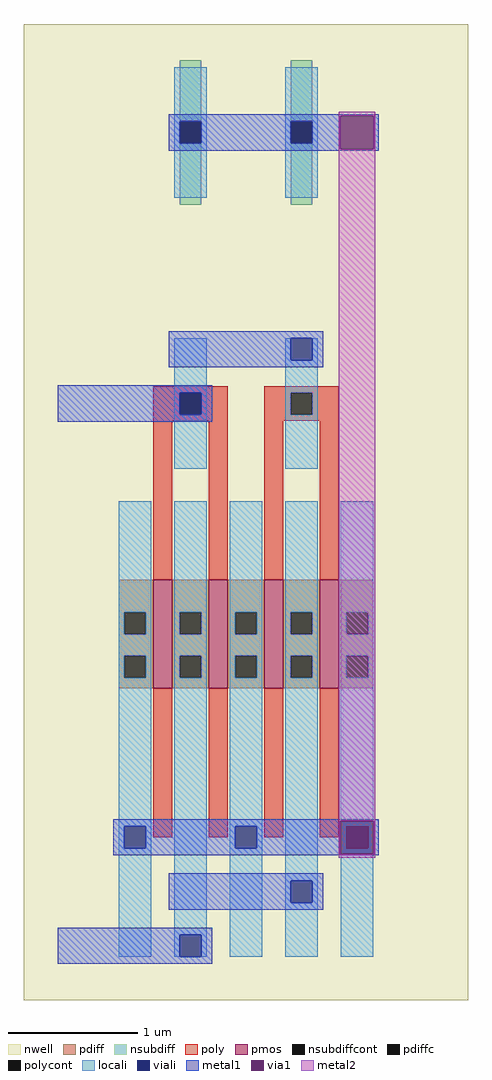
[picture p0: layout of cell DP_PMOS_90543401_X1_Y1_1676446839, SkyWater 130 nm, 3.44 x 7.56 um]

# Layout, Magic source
magic
tech sky130A
magscale 1 2
<< nwell >>
rect 0 0 688 1512
<< pmos >>
rect 200 483 230 651
rect 286 483 316 651
rect 372 483 402 651
rect 458 483 488 651
<< pdiff >>
rect 147 601 200 651
rect 147 567 155 601
rect 189 567 200 601
rect 147 533 200 567
rect 147 499 155 533
rect 189 499 200 533
rect 147 483 200 499
rect 230 601 286 651
rect 230 567 241 601
rect 275 567 286 601
rect 230 533 286 567
rect 230 499 241 533
rect 275 499 286 533
rect 230 483 286 499
rect 316 601 372 651
rect 316 567 327 601
rect 361 567 372 601
rect 316 533 372 567
rect 316 499 327 533
rect 361 499 372 533
rect 316 483 372 499
rect 402 601 458 651
rect 402 567 413 601
rect 447 567 458 601
rect 402 533 458 567
rect 402 499 413 533
rect 447 499 458 533
rect 402 483 458 499
rect 488 601 541 651
rect 488 567 499 601
rect 533 567 541 601
rect 488 533 541 567
rect 488 499 499 533
rect 533 499 541 533
rect 488 483 541 499
<< pdiffc >>
rect 155 567 189 601
rect 155 499 189 533
rect 241 567 275 601
rect 241 499 275 533
rect 327 567 361 601
rect 327 499 361 533
rect 413 567 447 601
rect 413 499 447 533
rect 499 567 533 601
rect 499 499 533 533
<< nsubdiff >>
rect 241 1361 275 1456
rect 241 1232 275 1327
rect 413 1361 447 1456
rect 413 1232 447 1327
<< nsubdiffcont >>
rect 241 1327 275 1361
rect 413 1327 447 1361
<< poly >>
rect 200 941 316 951
rect 200 907 241 941
rect 275 907 316 941
rect 200 897 316 907
rect 200 651 230 897
rect 286 651 316 897
rect 372 941 488 951
rect 372 907 413 941
rect 447 907 488 941
rect 372 897 488 907
rect 372 651 402 897
rect 458 651 488 897
rect 200 252 230 483
rect 286 252 316 483
rect 372 252 402 483
rect 458 252 488 483
<< polycont >>
rect 241 907 275 941
rect 413 907 447 941
<< locali >>
rect 233 1361 283 1445
rect 233 1327 241 1361
rect 275 1327 283 1361
rect 233 1243 283 1327
rect 405 1361 455 1445
rect 405 1327 413 1361
rect 447 1327 455 1361
rect 405 1243 455 1327
rect 233 941 283 1025
rect 233 907 241 941
rect 275 907 283 941
rect 233 823 283 907
rect 405 991 413 1025
rect 447 991 455 1025
rect 405 941 455 991
rect 405 907 413 941
rect 447 907 455 941
rect 405 823 455 907
rect 147 601 197 773
rect 147 567 155 601
rect 189 567 197 601
rect 147 533 197 567
rect 147 499 155 533
rect 189 499 197 533
rect 147 269 197 499
rect 147 235 155 269
rect 189 235 197 269
rect 147 67 197 235
rect 233 601 283 773
rect 233 567 241 601
rect 275 567 283 601
rect 233 533 283 567
rect 233 499 241 533
rect 275 499 283 533
rect 233 101 283 499
rect 233 67 241 101
rect 275 67 283 101
rect 319 601 369 773
rect 319 567 327 601
rect 361 567 369 601
rect 319 533 369 567
rect 319 499 327 533
rect 361 499 369 533
rect 319 269 369 499
rect 319 235 327 269
rect 361 235 369 269
rect 319 67 369 235
rect 405 601 455 773
rect 405 567 413 601
rect 447 567 455 601
rect 405 533 455 567
rect 405 499 413 533
rect 447 499 455 533
rect 405 185 455 499
rect 405 151 413 185
rect 447 151 455 185
rect 405 67 455 151
rect 491 601 541 773
rect 491 567 499 601
rect 533 567 541 601
rect 491 533 541 567
rect 491 499 499 533
rect 533 499 541 533
rect 491 269 541 499
rect 491 235 499 269
rect 533 235 541 269
rect 491 67 541 235
<< viali >>
rect 241 1327 275 1361
rect 413 1327 447 1361
rect 241 907 275 941
rect 413 991 447 1025
rect 155 235 189 269
rect 241 67 275 101
rect 327 235 361 269
rect 413 151 447 185
rect 499 235 533 269
<< metal1 >>
rect 224 1370 550 1372
rect 224 1361 490 1370
rect 224 1327 241 1361
rect 275 1327 413 1361
rect 447 1327 490 1361
rect 224 1318 490 1327
rect 542 1318 550 1370
rect 224 1316 550 1318
rect 224 1025 464 1036
rect 224 991 413 1025
rect 447 991 464 1025
rect 224 980 464 991
rect 52 941 292 952
rect 52 907 241 941
rect 275 907 292 941
rect 52 896 292 907
rect 138 278 550 280
rect 138 269 490 278
rect 138 235 155 269
rect 189 235 327 269
rect 361 235 490 269
rect 138 226 490 235
rect 542 226 550 278
rect 138 224 550 226
rect 224 185 464 196
rect 224 151 413 185
rect 447 151 464 185
rect 224 140 464 151
rect 52 101 292 112
rect 52 67 241 101
rect 275 67 292 101
rect 52 56 292 67
<< via1 >>
rect 490 1318 542 1370
rect 490 269 542 278
rect 490 235 499 269
rect 499 235 533 269
rect 533 235 542 269
rect 490 226 542 235
<< metal2 >>
rect 488 1370 544 1376
rect 488 1318 490 1370
rect 542 1318 544 1370
rect 488 278 544 1318
rect 488 226 490 278
rect 542 226 544 278
rect 488 220 544 226
<< end >>
